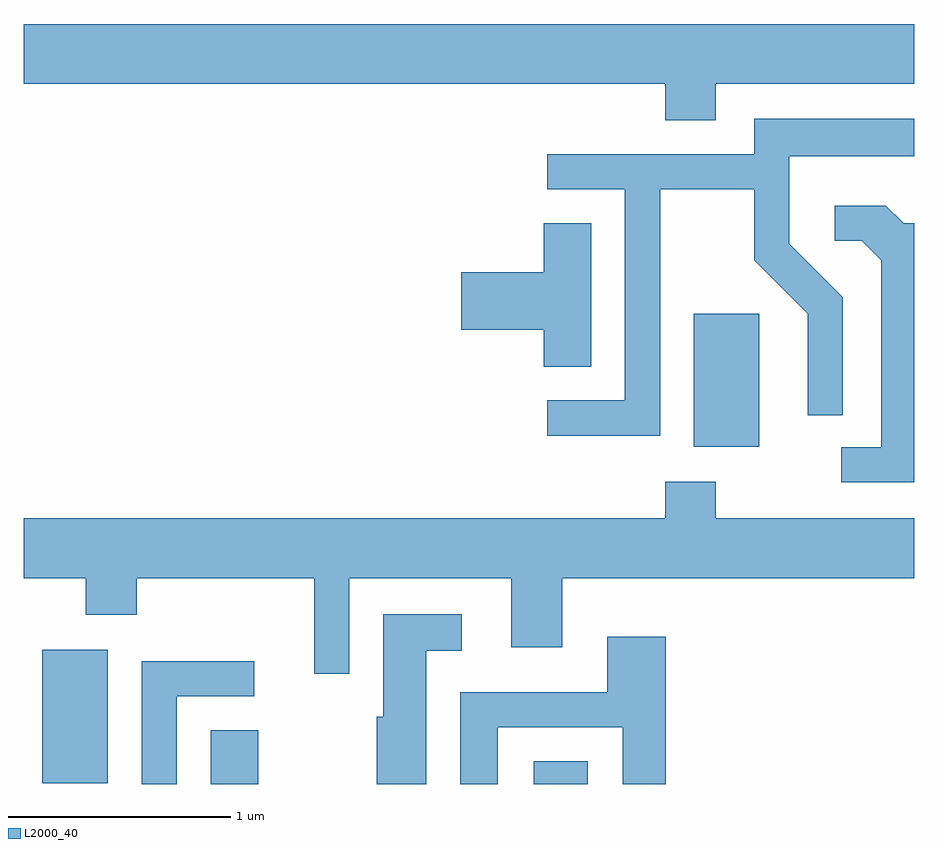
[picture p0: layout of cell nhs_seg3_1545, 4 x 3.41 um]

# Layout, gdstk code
import gdstk
lib = gdstk.Library(unit=1e-6, precision=1e-09)
def R(c, l, rs):  # rectangles x0, y0, x1, y1
    for r in rs: c.add(gdstk.rectangle(r[:2], r[2:], *l))
def P(c, l, *ps):  # polygons
    for p in ps: c.add(gdstk.Polygon(p, *l))
L2000_40 = (2000, 40)

nhs_seg3_1545 = lib.new_cell('nhs_seg3_1545')
R(nhs_seg3_1545, L2000_40, [(230.451,1213.892,230.664,1214.134), (231.901,1213.892,232.144,1213.994), (229.696,1213.896,229.989,1214.494), (232.621,1215.406,232.914,1216.004)])
P(nhs_seg3_1545, L2000_40, [(232.719,1217.036),(233.611,1217.036),(233.611,1217.304),(229.611,1217.304),(229.611,1217.036),(232.491,1217.036),(232.491,1216.871),(232.719,1216.871)],
  [(232.469,1216.561),(232.891,1216.561),(232.891,1216.244),(233.131,1216.004),(233.131,1215.548),(233.289,1215.548),(233.289,1216.077),(233.049,1216.317),(233.049,1216.711),(233.611,1216.711),(233.611,1216.879),(232.891,1216.879),(232.891,1216.719),(231.963,1216.719),(231.963,1216.561),(232.311,1216.561),(232.311,1215.614),(231.963,1215.614),(231.963,1215.456),(232.469,1215.456)],
  [(233.611,1216.409),(233.562,1216.409),(233.482,1216.489),(233.253,1216.489),(233.253,1216.331),(233.374,1216.331),(233.461,1216.244),(233.461,1215.404),(233.283,1215.404),(233.283,1215.246),(233.611,1215.246)],
  [(232.159,1216.409),(231.946,1216.409),(231.946,1216.189),(231.576,1216.189),(231.576,1215.931),(231.946,1215.931),(231.946,1215.766),(232.159,1215.766)],
  [(231.074,1214.816),(231.801,1214.816),(231.801,1214.506),(232.029,1214.506),(232.029,1214.816),(233.611,1214.816),(233.611,1215.084),(232.719,1215.084),(232.719,1215.249),(232.491,1215.249),(232.491,1215.084),(229.611,1215.084),(229.611,1214.816),(229.891,1214.816),(229.891,1214.651),(230.119,1214.651),(230.119,1214.816),(230.916,1214.816),(230.916,1214.388),(231.074,1214.388)],
  [(231.419,1214.491),(231.578,1214.491),(231.578,1214.654),(231.226,1214.654),(231.226,1214.194),(231.196,1214.194),(231.196,1213.892),(231.419,1213.892)],
  [(231.739,1214.146),(232.301,1214.146),(232.301,1213.892),(232.494,1213.892),(232.494,1214.554),(232.231,1214.554),(232.231,1214.304),(231.571,1214.304),(231.571,1213.892),(231.739,1213.892)],
  [(230.299,1214.286),(230.648,1214.286),(230.648,1214.444),(230.141,1214.444),(230.141,1213.892),(230.299,1213.892)])

lib.write_gds('nhs_seg3_1545.gds')
